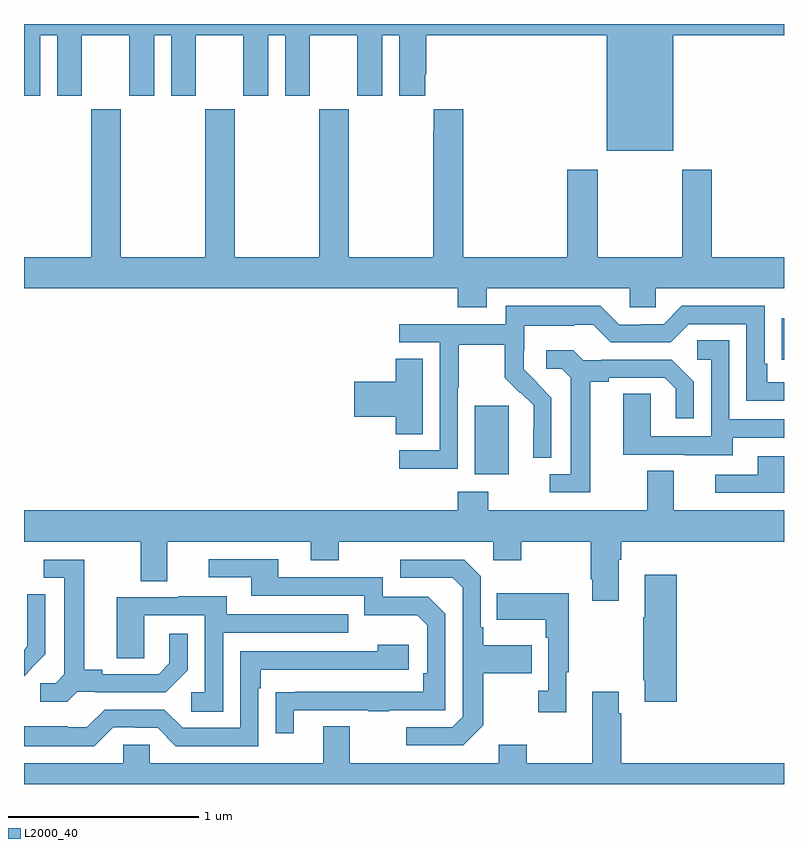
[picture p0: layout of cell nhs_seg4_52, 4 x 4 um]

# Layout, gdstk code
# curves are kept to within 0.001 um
import gdstk
lib = gdstk.Library(unit=1e-6, precision=1e-09)
def R(c, l, rs):  # rectangles x0, y0, x1, y1
    for r in rs: c.add(gdstk.rectangle(r[:2], r[2:], *l))
def P(c, l, *ps):  # polygons
    for p in ps: c.add(gdstk.Polygon(p, *l))
L2000_40 = (2000, 40)

nhs_seg4_52 = lib.new_cell('nhs_seg4_52')
R(nhs_seg4_52, L2000_40, [(115.373,774.53,115.552,774.891), (116.989,775.132,117,775.351)])
P(nhs_seg4_52, L2000_40, [(116.416,776.84),(117,776.84),(117,776.9),(113,776.9),(113,776.523),(113.086,776.523),(113.086,776.84),(113.174,776.84),(113.174,776.523),(113.305,776.523),(113.305,776.84),(113.555,776.84),(113.555,776.523),(113.686,776.523),(113.686,776.84),(113.774,776.84),(113.774,776.523),(113.905,776.523),(113.905,776.84),(114.155,776.84),(114.155,776.523),(114.286,776.523),(114.286,776.84),(114.374,776.84),(114.374,776.523),(114.505,776.523),(114.505,776.84),(114.755,776.84),(114.755,776.523),(114.886,776.523),(114.886,776.84),(114.974,776.84),(114.974,776.523),(115.111,776.523),(115.111,776.635),(115.118,776.635),(115.118,776.84),(116.066,776.84),(116.066,776.234),(116.416,776.234)],
  [(115.435,775.508),(116.187,775.508),(116.187,775.41),(116.325,775.41),(116.325,775.508),(117,775.508),(117,775.672),(116.619,775.672),(116.619,776.134),(116.464,776.134),(116.464,775.672),(116.019,775.672),(116.019,776.134),(115.859,776.134),(115.859,775.672),(115.313,775.672),(115.313,776.452),(115.157,776.452),(115.157,776.339),(115.153,776.339),(115.153,775.672),(114.708,775.672),(114.708,776.452),(114.553,776.452),(114.553,775.672),(114.108,775.672),(114.108,776.452),(113.953,776.452),(113.953,775.672),(113.508,775.672),(113.508,776.452),(113.353,776.452),(113.353,775.672),(113,775.672),(113,775.508),(115.283,775.508),(115.283,775.409),(115.435,775.409)],
  [(115.284,774.988),(115.287,774.988),(115.287,775.212),(115.531,775.212),(115.531,775.037),(115.608,774.96),(115.611,774.963),(115.682,774.893),(115.682,774.77),(115.68,774.77),(115.68,774.616),(115.776,774.616),(115.776,774.934),(115.63,775.082),(115.63,775.179),(115.632,775.179),(115.632,775.313),(115.895,775.313),(115.895,775.317),(115.995,775.317),(116.088,775.224),(116.403,775.224),(116.499,775.32),(116.802,775.32),(116.802,774.918),(117,774.918),(117,775.014),(116.911,775.014),(116.911,775.111),(116.898,775.111),(116.898,775.416),(116.463,775.416),(116.367,775.32),(116.249,775.32),(116.249,775.317),(116.133,775.317),(116.033,775.417),(115.536,775.417),(115.536,775.32),(114.975,775.32),(114.975,775.224),(115.188,775.224),(115.188,774.657),(114.975,774.657),(114.975,774.559),(115.284,774.559)],
  [(116.731,774.723),(117,774.723),(117,774.819),(116.712,774.819),(116.712,775.235),(116.544,775.235),(116.544,775.134),(116.616,775.134),(116.616,774.729),(116.298,774.729),(116.298,774.953),(116.153,774.953),(116.153,774.633),(116.477,774.633),(116.477,774.629),(116.731,774.629)],
  [(115.981,775.016),(116.077,775.016),(116.077,775.038),(116.372,775.038),(116.429,774.981),(116.429,774.825),(116.526,774.825),(116.526,775.018),(116.41,775.134),(116.038,775.134),(116.038,775.131),(115.944,775.131),(115.892,775.183),(115.749,775.183),(115.749,775.086),(115.83,775.086),(115.877,775.039),(115.877,774.531),(115.767,774.531),(115.767,774.435),(115.981,774.435)],
  [(115.099,775.139),(114.956,775.139),(114.956,775.016),(114.738,775.016),(114.738,774.833),(114.956,774.833),(114.956,774.742),(115.099,774.742)],
  [(117,774.624),(116.861,774.624),(116.861,774.528),(116.637,774.528),(116.637,774.432),(117,774.432)],
  [(116.131,774.08),(116.144,774.08),(116.144,774.176),(117,774.176),(117,774.34),(116.419,774.34),(116.419,774.548),(116.279,774.548),(116.279,774.34),(115.443,774.34),(115.443,774.439),(115.283,774.439),(115.283,774.34),(113,774.34),(113,774.176),(113.615,774.176),(113.615,773.968),(113.755,773.968),(113.755,774.176),(114.509,774.176),(114.509,774.077),(114.657,774.077),(114.657,774.176),(115.47,774.176),(115.47,774.077),(115.617,774.077),(115.617,774.176),(115.984,774.176),(115.984,773.977),(115.991,773.977),(115.991,773.865),(116.131,773.865)],
  [(114.421,773.289),(114.811,773.289),(114.811,773.284),(114.923,773.284),(114.923,773.289),(115.218,773.289),(115.218,773.796),(115.128,773.886),(114.888,773.886),(114.888,773.988),(114.337,773.988),(114.337,774.084),(113.973,774.084),(113.973,773.988),(114.197,773.988),(114.197,773.892),(114.792,773.892),(114.792,773.789),(115.069,773.789),(115.122,773.736),(115.122,773.482),(115.102,773.482),(115.102,773.385),(114.325,773.384),(114.325,773.166),(114.421,773.166)],
  [(115.417,773.209),(115.417,773.482),(115.673,773.482),(115.673,773.629),(115.417,773.629),(115.417,773.725),(115.404,773.725),(115.404,773.994),(115.317,774.081),(114.981,774.081),(114.981,773.985),(115.257,773.985),(115.308,773.934),(115.308,773.253),(115.254,773.199),(115.011,773.199),(115.011,773.103),(115.311,773.103)],
  [(113.28,773.385),(113.374,773.385),(113.374,773.382),(113.746,773.382),(113.862,773.498),(113.862,773.692),(113.765,773.692),(113.765,773.535),(113.708,773.478),(113.413,773.478),(113.413,773.501),(113.317,773.501),(113.317,774.081),(113.103,774.081),(113.103,773.985),(113.213,773.985),(113.213,773.477),(113.166,773.43),(113.085,773.43),(113.085,773.333),(113.228,773.333)],
  [(116.435,774.001),(116.267,774.001),(116.267,773.777),(116.26,773.777),(116.26,773.446),(116.267,773.446),(116.267,773.334),(116.435,773.334)],
  [(115.855,773.489),(115.867,773.489),(115.867,773.905),(115.489,773.905),(115.489,773.765),(115.746,773.765),(115.746,773.669),(115.758,773.669),(115.758,773.39),(115.707,773.39),(115.707,773.277),(115.855,773.277)],
  [(113.04,773.508),(113.039,773.509),(113.112,773.582),(113.112,773.9),(113.016,773.9),(113.016,773.746),(113.018,773.746),(113.018,773.624),(113,773.606),(113,773.468)],
  [(114.048,773.697),(114.707,773.697),(114.707,773.793),(114.067,773.793),(114.067,773.887),(113.813,773.887),(113.813,773.883),(113.489,773.883),(113.489,773.563),(113.634,773.563),(113.634,773.787),(113.952,773.787),(113.952,773.382),(113.88,773.382),(113.88,773.281),(114.048,773.281)],
  [(113.469,773.199),(113.585,773.199),(113.585,773.196),(113.703,773.196),(113.799,773.1),(114.234,773.1),(114.234,773.405),(114.247,773.405),(114.247,773.502),(115.024,773.502),(115.024,773.632),(114.863,773.632),(114.863,773.598),(114.138,773.598),(114.138,773.196),(113.835,773.196),(113.739,773.292),(113.424,773.292),(113.331,773.199),(113.231,773.199),(113.231,773.203),(113,773.203),(113,773.099),(113.369,773.099)],
  [(117,773.008),(116.144,773.008),(116.144,773.273),(116.131,773.273),(116.131,773.386),(115.991,773.386),(115.991,773.008),(115.647,773.008),(115.647,773.107),(115.499,773.107),(115.499,773.008),(114.715,773.008),(114.715,773.203),(114.575,773.203),(114.575,773.008),(113.661,773.008),(113.661,773.106),(113.523,773.106),(113.523,773.008),(113,773.008),(113,772.9),(117,772.9)])

lib.write_gds('nhs_seg4_52.gds')
